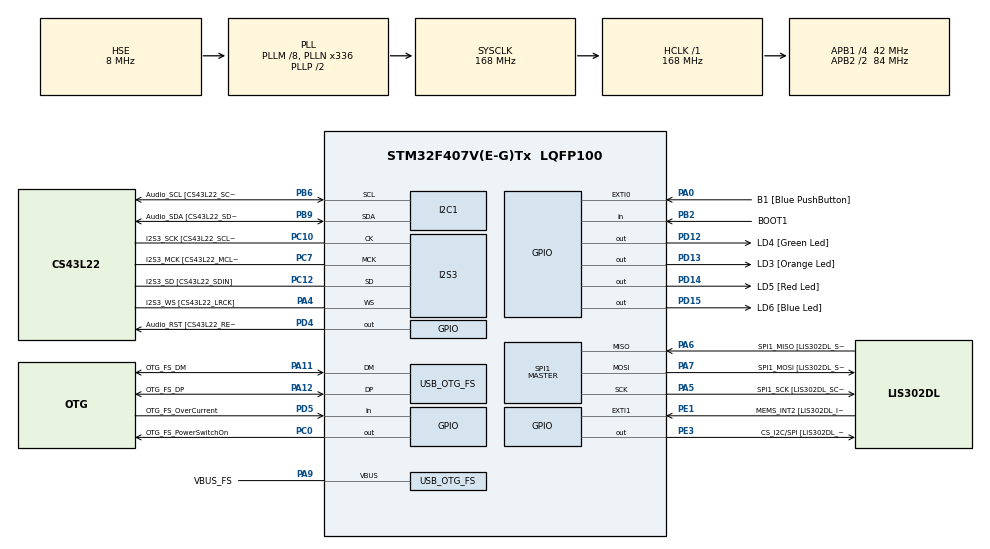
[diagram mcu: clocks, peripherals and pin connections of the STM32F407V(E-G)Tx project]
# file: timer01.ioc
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I2S3.AudioFreq-Half_Duplex_Master=I2S_AUDIOFREQ_96K
I2S3.ErrorAudioFreq=-2.34 %
I2S3.ErrorAudioFreq-Half_Duplex_Master=0.8 %
I2S3.FullDuplexMode=I2S_FULLDUPLEXMODE_DISABLE
I2S3.Instance=SPI$Index
I2S3.RealAudioFreq=93.75 KHz
I2S3.RealAudioFreq-Half_Duplex_Master=96.774 KHz
I2S3.VirtualMode=I2S_MODE_MASTER
Mcu.Family=STM32F4
Mcu.Name=STM32F407V(E-G)Tx
Mcu.Package=LQFP100
NVIC.OTG_FS_IRQn=true\:0\:0\:false\:false\:true\:true\:true
NVIC.PriorityGroup=NVIC_PRIORITYGROUP_0
NVIC.TIM6_DAC_IRQn=true\:0\:0\:false\:false\:true\:true\:true
PA0-WKUP.GPIO_Label=B1 [Blue PushButton]
PA0-WKUP.GPIO_ModeDefaultEXTI=GPIO_MODE_EVT_RISING
PA0-WKUP.GPIO_PuPd=GPIO_NOPULL
PA0-WKUP.Signal=GPXTI0
PA10.GPIO_Label=OTG_FS_ID
PA10.GPIO_Mode=GPIO_MODE_AF_PP
PA10.GPIO_PuPd=GPIO_NOPULL
PA10.GPIO_Speed=GPIO_SPEED_FREQ_LOW
PA10.Signal=USB_OTG_FS_ID
PA11.GPIO_Label=OTG_FS_DM
PA11.GPIO_Mode=GPIO_MODE_AF_PP
PA11.GPIO_PuPd=GPIO_NOPULL
PA11.GPIO_Speed=GPIO_SPEED_FREQ_LOW
PA11.Mode=Host_Only
PA11.Signal=USB_OTG_FS_DM
PA12.GPIO_Label=OTG_FS_DP
PA12.GPIO_Mode=GPIO_MODE_AF_PP
PA12.GPIO_PuPd=GPIO_NOPULL
PA12.GPIO_Speed=GPIO_SPEED_FREQ_LOW
PA12.Mode=Host_Only
PA12.Signal=USB_OTG_FS_DP
PA13.GPIO_Label=SWDIO
PA13.Mode=Serial_Wire
PA13.Signal=SYS_JTMS-SWDIO
PA14.GPIO_Label=SWCLK
PA14.Mode=Serial_Wire
PA14.Signal=SYS_JTCK-SWCLK
PA4.GPIO_Label=I2S3_WS [CS43L22_LRCK]
PA4.GPIO_Mode=GPIO_MODE_AF_PP
PA4.GPIO_PuPd=GPIO_NOPULL
PA4.GPIO_Speed=GPIO_SPEED_FREQ_LOW
PA4.Mode=Half_Duplex_Master
PA4.Signal=I2S3_WS
PA5.GPIO_Label=SPI1_SCK [LIS302DL_SCL/SPC]
PA5.GPIO_Mode=GPIO_MODE_AF_PP
PA5.GPIO_PuPd=GPIO_NOPULL
PA5.GPIO_Speed=GPIO_SPEED_FREQ_LOW
PA5.Mode=Full_Duplex_Master
PA5.Signal=SPI1_SCK
PA6.GPIO_Label=SPI1_MISO [LIS302DL_SDO]
PA6.GPIO_Mode=GPIO_MODE_AF_PP
PA6.GPIO_PuPd=GPIO_NOPULL
PA6.GPIO_Speed=GPIO_SPEED_FREQ_LOW
PA6.Mode=Full_Duplex_Master
PA6.Signal=SPI1_MISO
PA7.GPIO_Label=SPI1_MOSI [LIS302DL_SDA/SDI/SDO]
PA7.GPIO_Mode=GPIO_MODE_AF_PP
PA7.GPIO_PuPd=GPIO_NOPULL
PA7.GPIO_Speed=GPIO_SPEED_FREQ_LOW
PA7.Mode=Full_Duplex_Master
PA7.Signal=SPI1_MOSI
PA9.GPIO_Label=VBUS_FS
PA9.GPIO_Mode=GPIO_MODE_INPUT
PA9.GPIO_PuPd=GPIO_NOPULL
PA9.Mode=Activate_VBUS
PA9.Signal=USB_OTG_FS_VBUS
PB10.GPIO_Label=CLK_IN [MP45DT02_CLK]
PB10.GPIO_Mode=GPIO_MODE_AF_PP
PB10.GPIO_PuPd=GPIO_NOPULL
PB10.GPIO_Speed=GPIO_SPEED_FREQ_LOW
PB10.Signal=I2S2_CK
PB2.GPIO_Label=BOOT1
PB2.GPIO_Mode=GPIO_MODE_INPUT
PB2.GPIO_PuPd=GPIO_NOPULL
PB2.Signal=GPIO_Input
PB3.GPIO_Label=SWO
PB3.Signal=SYS_JTDO-SWO
PB6.GPIO_Label=Audio_SCL [CS43L22_SCL]
PB6.GPIO_Mode=GPIO_MODE_AF_OD
PB6.GPIO_Pu=GPIO_PULLUP
PB6.GPIO_PuPd=GPIO_NOPULL
PB6.GPIO_Speed=GPIO_SPEED_FREQ_LOW
PB6.Mode=I2C
PB6.Signal=I2C1_SCL
PB9.GPIO_Label=Audio_SDA [CS43L22_SDA]
PB9.GPIO_Mode=GPIO_MODE_AF_OD
PB9.GPIO_Pu=GPIO_PULLUP
PB9.GPIO_PuPd=GPIO_NOPULL
PB9.GPIO_Speed=GPIO_SPEED_FREQ_LOW
PB9.Mode=I2C
PB9.Signal=I2C1_SDA
PC0.GPIO_Label=OTG_FS_PowerSwitchOn
PC0.GPIO_PuPd=GPIO_NOPULL
PC0.GPIO_Speed=GPIO_SPEED_FREQ_LOW
PC0.PinState=GPIO_PIN_SET
PC0.Signal=GPIO_Output
PC10.GPIO_Label=I2S3_SCK [CS43L22_SCLK]
PC10.GPIO_Mode=GPIO_MODE_AF_PP
PC10.GPIO_PuPd=GPIO_NOPULL
PC10.GPIO_Speed=GPIO_SPEED_FREQ_LOW
PC10.Mode=Half_Duplex_Master
PC10.Signal=I2S3_CK
PC12.GPIO_Label=I2S3_SD [CS43L22_SDIN]
PC12.GPIO_Mode=GPIO_MODE_AF_PP
PC12.GPIO_PuPd=GPIO_NOPULL
PC12.GPIO_Speed=GPIO_SPEED_FREQ_LOW
PC12.Mode=Half_Duplex_Master
PC12.Signal=I2S3_SD
PC14-OSC32_IN.GPIO_Label=PC14-OSC32_IN
PC14-OSC32_IN.Mode=LSE-External-Oscillator
PC14-OSC32_IN.Signal=RCC_OSC32_IN
PC15-OSC32_OUT.GPIO_Label=PC15-OSC32_OUT
PC15-OSC32_OUT.Mode=LSE-External-Oscillator
PC15-OSC32_OUT.Signal=RCC_OSC32_OUT
PC3.GPIO_Label=PDM_OUT [MP45DT02_DOUT]
PC3.GPIO_Mode=GPIO_MODE_AF_PP
PC3.GPIO_PuPd=GPIO_NOPULL
PC3.GPIO_Speed=GPIO_SPEED_FREQ_LOW
PC3.Signal=I2S2_SD
PC7.GPIO_Label=I2S3_MCK [CS43L22_MCLK]
PC7.GPIO_Mode=GPIO_MODE_AF_PP
PC7.GPIO_PuPd=GPIO_NOPULL
PC7.GPIO_Speed=GPIO_SPEED_FREQ_LOW
PC7.Mode=Master_Clock_Activated
PC7.Signal=I2S3_MCK
PD12.GPIO_Label=LD4 [Green Led]
PD12.GPIO_PuPd=GPIO_NOPULL
PD12.GPIO_Speed=GPIO_SPEED_FREQ_LOW
PD12.Signal=GPIO_Output
PD13.GPIO_Label=LD3 [Orange Led]
PD13.GPIO_PuPd=GPIO_NOPULL
PD13.GPIO_Speed=GPIO_SPEED_FREQ_LOW
PD13.Signal=GPIO_Output
PD14.GPIO_Label=LD5 [Red Led]
PD14.GPIO_PuPd=GPIO_NOPULL
PD14.GPIO_Speed=GPIO_SPEED_FREQ_LOW
PD14.Signal=GPIO_Output
PD15.GPIO_Label=LD6 [Blue Led]
PD15.GPIO_PuPd=GPIO_NOPULL
PD15.GPIO_Speed=GPIO_SPEED_FREQ_LOW
PD15.Signal=GPIO_Output
PD4.GPIO_Label=Audio_RST [CS43L22_RESET]
PD4.GPIO_PuPd=GPIO_NOPULL
PD4.GPIO_Speed=GPIO_SPEED_FREQ_LOW
PD4.Signal=GPIO_Output
PD5.GPIO_Label=OTG_FS_OverCurrent
PD5.GPIO_Mode=GPIO_MODE_INPUT
PD5.GPIO_PuPd=GPIO_NOPULL
PD5.Signal=GPIO_Input
PE1.GPIO_Label=MEMS_INT2 [LIS302DL_INT2]
PE1.GPIO_ModeDefaultEXTI=GPIO_MODE_EVT_RISING
PE1.GPIO_PuPd=GPIO_NOPULL
PE1.Signal=GPXTI1
PE3.GPIO_Label=CS_I2C/SPI [LIS302DL_CS_I2C/SPI]
PE3.GPIO_PuPd=GPIO_NOPULL
PE3.GPIO_Speed=GPIO_SPEED_FREQ_LOW
PE3.Signal=GPIO_Output
PH0-OSC_IN.GPIO_Label=PH0-OSC_IN
PH0-OSC_IN.Mode=HSE-External-Oscillator
PH0-OSC_IN.Signal=RCC_OSC_IN
PH1-OSC_OUT.GPIO_Label=PH1-OSC_OUT
PH1-OSC_OUT.Mode=HSE-External-Oscillator
PH1-OSC_OUT.Signal=RCC_OSC_OUT
ProjectManager.HeapSize=0x200
ProjectManager.StackSize=0x400
ProjectManager.TargetToolchain=STM32CubeIDE
RCC.48MHZClocksFreq_Value=48000000
RCC.AHBFreq_Value=168000000
RCC.APB1CLKDivider=RCC_HCLK_DIV4
RCC.APB1Freq_Value=42000000
RCC.APB1TimFreq_Value=84000000
RCC.APB2CLKDivider=RCC_HCLK_DIV2
RCC.APB2Freq_Value=84000000
RCC.APB2TimFreq_Value=168000000
RCC.CortexFreq_Value=168000000
RCC.HCLKFreq_Value=168000000
RCC.HSE_VALUE=8000000
RCC.HSI_VALUE=16000000
RCC.PLLM=8
RCC.PLLN=336
RCC.PLLQ=7
RCC.SYSCLKFreq_VALUE=168000000
RCC.SYSCLKSource=RCC_SYSCLKSOURCE_PLLCLK
RCC.VCOOutputFreq_Value=336000000
SPI1.BaudRatePrescaler-Full_Duplex_Master=SPI_BAUDRATEPRESCALER_2
SPI1.CalculateBaudRate-Full_Duplex_Master=42.0 MBits/s
SPI1.Direction=SPI_DIRECTION_2LINES
SPI1.Mode=SPI_MODE_MASTER
SPI1.Mode-Full_Duplex_Master=SPI_MODE_MASTER
SPI1.VirtualType=VM_MASTER
TIM6.Period=2624
TIM6.Prescaler=31999
USB_HOST.BSP.number=1
USB_HOST.USBH_HandleTypeDef-CDC_FS=hUsbHostFS
USB_HOST.VirtualModeFS=Cdc
USB_HOST0.BSP.STBoard=false
USB_HOST0.BSP.api=Unknown
USB_HOST0.BSP.i2caddr=0
USB_HOST0.BSP.i2creg=0
USB_HOST0.BSP.instance=PC0
USB_HOST0.BSP.ip=GPIO
USB_HOST0.BSP.mode=Output
USB_HOST0.BSP.name=Drive_VBUS_FS
USB_HOST0.BSP.solution=PC0
USB_OTG_FS.VirtualMode=Host_Only
USB_OTG_FS.phy_itface=HCD_PHY_EMBEDDED
VP_TIM6_VS_ClockSourceINT.Mode=Enable_Timer
VP_USB_HOST_VS_USB_HOST_CDC_FS.Mode=CDC_FS
board=STM32F407G-DISC1

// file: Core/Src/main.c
/* USER CODE BEGIN Header */
/**
  ******************************************************************************
  * @file           : main.c
  * @brief          : Main program body
  ******************************************************************************
  * @attention
  *
  * Copyright (c) 2022 STMicroelectronics.
  * All rights reserved.
  *
  * This software is licensed under terms that can be found in the LICENSE file
  * in the root directory of this software component.
  * If no LICENSE file comes with this software, it is provided AS-IS.
  *
  ******************************************************************************
  */
/* USER CODE END Header */
#include "main.h"
#include "usb_host.h"

I2C_HandleTypeDef hi2c1;

I2S_HandleTypeDef hi2s3;

SPI_HandleTypeDef hspi1;

TIM_HandleTypeDef htim6;

/* USER CODE BEGIN PV */
volatile uint32_t step = 50;
volatile int direction = 0;
/* USER CODE END PV */

void SystemClock_Config(void);
static void MX_GPIO_Init(void);
static void MX_I2C1_Init(void);
static void MX_I2S3_Init(void);
static void MX_SPI1_Init(void);
static void MX_TIM6_Init(void);
void MX_USB_HOST_Process(void);

int main(void)
{

  /* MCU Configuration--------------------------------------------------------*/

  /* Reset of all peripherals, Initializes the Flash interface and the Systick. */
  HAL_Init();

  /* Configure the system clock */
  SystemClock_Config();

  /* Initialize all configured peripherals */
  MX_GPIO_Init();
  MX_I2C1_Init();
  MX_I2S3_Init();
  MX_SPI1_Init();
  MX_USB_HOST_Init();
  MX_TIM6_Init();

  /* Infinite loop */
  /* USER CODE BEGIN WHILE */

  uint8_t led = 0;

  HAL_TIM_Base_Start_IT(&htim6);
  while (1)
  {
	  if(direction == 0) {
		if(led == 0) HAL_GPIO_TogglePin(LD3_GPIO_Port, LD3_Pin);
		if(led == 1) HAL_GPIO_TogglePin(LD4_GPIO_Port, LD4_Pin);
		if(led == 2) HAL_GPIO_TogglePin(LD5_GPIO_Port, LD5_Pin);
//		if(led == 3) HAL_GPIO_TogglePin(LD6_GPIO_Port, LD6_Pin);
	  } else {
//	    if(led == 0) HAL_GPIO_TogglePin(LD3_GPIO_Port, LD6_Pin);
		if(led == 1) HAL_GPIO_TogglePin(LD4_GPIO_Port, LD5_Pin);
		if(led == 2) HAL_GPIO_TogglePin(LD5_GPIO_Port, LD4_Pin);
		if(led == 3) HAL_GPIO_TogglePin(LD6_GPIO_Port, LD3_Pin);
	  }
	led = (led + 1) % 4;
	HAL_Delay(step);
    /* USER CODE END WHILE */
    MX_USB_HOST_Process();
  }
}

void SystemClock_Config(void)
{
  RCC_OscInitTypeDef RCC_OscInitStruct = {0};
  RCC_ClkInitTypeDef RCC_ClkInitStruct = {0};

  /** Configure the main internal regulator output voltage
  */
  __HAL_RCC_PWR_CLK_ENABLE();
  __HAL_PWR_VOLTAGESCALING_CONFIG(PWR_REGULATOR_VOLTAGE_SCALE1);
  /** Initializes the RCC Oscillators according to the specified parameters
  * in the RCC_OscInitTypeDef structure.
  */
  RCC_OscInitStruct.OscillatorType = RCC_OSCILLATORTYPE_HSE;
  RCC_OscInitStruct.HSEState = RCC_HSE_ON;
  RCC_OscInitStruct.PLL.PLLState = RCC_PLL_ON;
  RCC_OscInitStruct.PLL.PLLSource = RCC_PLLSOURCE_HSE;
  RCC_OscInitStruct.PLL.PLLM = 8;
  RCC_OscInitStruct.PLL.PLLN = 336;
  RCC_OscInitStruct.PLL.PLLP = RCC_PLLP_DIV2;
  RCC_OscInitStruct.PLL.PLLQ = 7;
  if (HAL_RCC_OscConfig(&RCC_OscInitStruct) != HAL_OK)
  {
    Error_Handler();
  }
  /** Initializes the CPU, AHB and APB buses clocks
  */
  RCC_ClkInitStruct.ClockType = RCC_CLOCKTYPE_HCLK|RCC_CLOCKTYPE_SYSCLK
                              |RCC_CLOCKTYPE_PCLK1|RCC_CLOCKTYPE_PCLK2;
  RCC_ClkInitStruct.SYSCLKSource = RCC_SYSCLKSOURCE_PLLCLK;
  RCC_ClkInitStruct.AHBCLKDivider = RCC_SYSCLK_DIV1;
  RCC_ClkInitStruct.APB1CLKDivider = RCC_HCLK_DIV4;
  RCC_ClkInitStruct.APB2CLKDivider = RCC_HCLK_DIV2;

  if (HAL_RCC_ClockConfig(&RCC_ClkInitStruct, FLASH_LATENCY_5) != HAL_OK)
  {
    Error_Handler();
  }
}

static void MX_I2C1_Init(void)
{

  hi2c1.Instance = I2C1;
  hi2c1.Init.ClockSpeed = 100000;
  hi2c1.Init.DutyCycle = I2C_DUTYCYCLE_2;
  hi2c1.Init.OwnAddress1 = 0;
  hi2c1.Init.AddressingMode = I2C_ADDRESSINGMODE_7BIT;
  hi2c1.Init.DualAddressMode = I2C_DUALADDRESS_DISABLE;
  hi2c1.Init.OwnAddress2 = 0;
  hi2c1.Init.GeneralCallMode = I2C_GENERALCALL_DISABLE;
  hi2c1.Init.NoStretchMode = I2C_NOSTRETCH_DISABLE;
  if (HAL_I2C_Init(&hi2c1) != HAL_OK)
  {
    Error_Handler();
  }

}

static void MX_I2S3_Init(void)
{

  hi2s3.Instance = SPI3;
  hi2s3.Init.Mode = I2S_MODE_MASTER_TX;
  hi2s3.Init.Standard = I2S_STANDARD_PHILIPS;
  hi2s3.Init.DataFormat = I2S_DATAFORMAT_16B;
  hi2s3.Init.MCLKOutput = I2S_MCLKOUTPUT_ENABLE;
  hi2s3.Init.AudioFreq = I2S_AUDIOFREQ_96K;
  hi2s3.Init.CPOL = I2S_CPOL_LOW;
  hi2s3.Init.ClockSource = I2S_CLOCK_PLL;
  hi2s3.Init.FullDuplexMode = I2S_FULLDUPLEXMODE_DISABLE;
  if (HAL_I2S_Init(&hi2s3) != HAL_OK)
  {
    Error_Handler();
  }

}

static void MX_SPI1_Init(void)
{

  /* SPI1 parameter configuration*/
  hspi1.Instance = SPI1;
  hspi1.Init.Mode = SPI_MODE_MASTER;
  hspi1.Init.Direction = SPI_DIRECTION_2LINES;
  hspi1.Init.DataSize = SPI_DATASIZE_8BIT;
  hspi1.Init.CLKPolarity = SPI_POLARITY_LOW;
  hspi1.Init.CLKPhase = SPI_PHASE_1EDGE;
  hspi1.Init.NSS = SPI_NSS_SOFT;
  hspi1.Init.BaudRatePrescaler = SPI_BAUDRATEPRESCALER_2;
  hspi1.Init.FirstBit = SPI_FIRSTBIT_MSB;
  hspi1.Init.TIMode = SPI_TIMODE_DISABLE;
  hspi1.Init.CRCCalculation = SPI_CRCCALCULATION_DISABLE;
  hspi1.Init.CRCPolynomial = 10;
  if (HAL_SPI_Init(&hspi1) != HAL_OK)
  {
    Error_Handler();
  }

}

static void MX_TIM6_Init(void)
{

  TIM_MasterConfigTypeDef sMasterConfig = {0};

  htim6.Instance = TIM6;
  htim6.Init.Prescaler = 1599;
  htim6.Init.CounterMode = TIM_COUNTERMODE_UP;
  htim6.Init.Period = 1;
  htim6.Init.AutoReloadPreload = TIM_AUTORELOAD_PRELOAD_DISABLE;
  if (HAL_TIM_Base_Init(&htim6) != HAL_OK)
  {
    Error_Handler();
  }
  sMasterConfig.MasterOutputTrigger = TIM_TRGO_RESET;
  sMasterConfig.MasterSlaveMode = TIM_MASTERSLAVEMODE_DISABLE;
  if (HAL_TIMEx_MasterConfigSynchronization(&htim6, &sMasterConfig) != HAL_OK)
  {
    Error_Handler();
  }
  /* USER CODE BEGIN TIM6_Init 2 */
  HAL_NVIC_SetPriority(TIM6_DAC_IRQn, 0, 0);
  HAL_NVIC_EnableIRQ(TIM6_DAC_IRQn);
  /* USER CODE END TIM6_Init 2 */

}

static void MX_GPIO_Init(void)
{
  GPIO_InitTypeDef GPIO_InitStruct = {0};

  /* GPIO Ports Clock Enable */
  __HAL_RCC_GPIOE_CLK_ENABLE();
  __HAL_RCC_GPIOC_CLK_ENABLE();
  __HAL_RCC_GPIOH_CLK_ENABLE();
  __HAL_RCC_GPIOA_CLK_ENABLE();
  __HAL_RCC_GPIOB_CLK_ENABLE();
  __HAL_RCC_GPIOD_CLK_ENABLE();

  /*Configure GPIO pin Output Level */
  HAL_GPIO_WritePin(CS_I2C_SPI_GPIO_Port, CS_I2C_SPI_Pin, GPIO_PIN_RESET);

  /*Configure GPIO pin Output Level */
  HAL_GPIO_WritePin(OTG_FS_PowerSwitchOn_GPIO_Port, OTG_FS_PowerSwitchOn_Pin, GPIO_PIN_SET);

  /*Configure GPIO pin Output Level */
  HAL_GPIO_WritePin(GPIOD, LD4_Pin|LD3_Pin|LD5_Pin|LD6_Pin
                          |Audio_RST_Pin, GPIO_PIN_RESET);

  /*Configure GPIO pin : CS_I2C_SPI_Pin */
  GPIO_InitStruct.Pin = CS_I2C_SPI_Pin;
  GPIO_InitStruct.Mode = GPIO_MODE_OUTPUT_PP;
  GPIO_InitStruct.Pull = GPIO_NOPULL;
  GPIO_InitStruct.Speed = GPIO_SPEED_FREQ_LOW;
  HAL_GPIO_Init(CS_I2C_SPI_GPIO_Port, &GPIO_InitStruct);

  /*Configure GPIO pin : OTG_FS_PowerSwitchOn_Pin */
  GPIO_InitStruct.Pin = OTG_FS_PowerSwitchOn_Pin;
  GPIO_InitStruct.Mode = GPIO_MODE_OUTPUT_PP;
  GPIO_InitStruct.Pull = GPIO_NOPULL;
  GPIO_InitStruct.Speed = GPIO_SPEED_FREQ_LOW;
  HAL_GPIO_Init(OTG_FS_PowerSwitchOn_GPIO_Port, &GPIO_InitStruct);

  /*Configure GPIO pin : PDM_OUT_Pin */
  GPIO_InitStruct.Pin = PDM_OUT_Pin;
  GPIO_InitStruct.Mode = GPIO_MODE_AF_PP;
  GPIO_InitStruct.Pull = GPIO_NOPULL;
  GPIO_InitStruct.Speed = GPIO_SPEED_FREQ_LOW;
  GPIO_InitStruct.Alternate = GPIO_AF5_SPI2;
  HAL_GPIO_Init(PDM_OUT_GPIO_Port, &GPIO_InitStruct);

  /*Configure GPIO pin : B1_Pin */
  GPIO_InitStruct.Pin = B1_Pin;
  GPIO_InitStruct.Mode = GPIO_MODE_IT_RISING;
  GPIO_InitStruct.Pull = GPIO_NOPULL;
  HAL_GPIO_Init(B1_GPIO_Port, &GPIO_InitStruct);

  HAL_NVIC_SetPriority(EXTI0_IRQn, 0, 0);
  HAL_NVIC_EnableIRQ(EXTI0_IRQn);

  /*Configure GPIO pin : BOOT1_Pin */
  GPIO_InitStruct.Pin = BOOT1_Pin;
  GPIO_InitStruct.Mode = GPIO_MODE_INPUT;
  GPIO_InitStruct.Pull = GPIO_NOPULL;
  HAL_GPIO_Init(BOOT1_GPIO_Port, &GPIO_InitStruct);

  /*Configure GPIO pin : CLK_IN_Pin */
  GPIO_InitStruct.Pin = CLK_IN_Pin;
  GPIO_InitStruct.Mode = GPIO_MODE_AF_PP;
  GPIO_InitStruct.Pull = GPIO_NOPULL;
  GPIO_InitStruct.Speed = GPIO_SPEED_FREQ_LOW;
  GPIO_InitStruct.Alternate = GPIO_AF5_SPI2;
  HAL_GPIO_Init(CLK_IN_GPIO_Port, &GPIO_InitStruct);

  /*Configure GPIO pins : LD4_Pin LD3_Pin LD5_Pin LD6_Pin
                           Audio_RST_Pin */
  GPIO_InitStruct.Pin = LD4_Pin|LD3_Pin|LD5_Pin|LD6_Pin
                          |Audio_RST_Pin;
  GPIO_InitStruct.Mode = GPIO_MODE_OUTPUT_PP;
  GPIO_InitStruct.Pull = GPIO_NOPULL;
  GPIO_InitStruct.Speed = GPIO_SPEED_FREQ_LOW;
  HAL_GPIO_Init(GPIOD, &GPIO_InitStruct);

  /*Configure GPIO pin : OTG_FS_OverCurrent_Pin */
  GPIO_InitStruct.Pin = OTG_FS_OverCurrent_Pin;
  GPIO_InitStruct.Mode = GPIO_MODE_INPUT;
  GPIO_InitStruct.Pull = GPIO_NOPULL;
  HAL_GPIO_Init(OTG_FS_OverCurrent_GPIO_Port, &GPIO_InitStruct);

  /*Configure GPIO pin : MEMS_INT2_Pin */
  GPIO_InitStruct.Pin = MEMS_INT2_Pin;
  GPIO_InitStruct.Mode = GPIO_MODE_EVT_RISING;
  GPIO_InitStruct.Pull = GPIO_NOPULL;
  HAL_GPIO_Init(MEMS_INT2_GPIO_Port, &GPIO_InitStruct);

}

void Error_Handler(void)
{
  __disable_irq();
  while (1)
  {
  }
}
